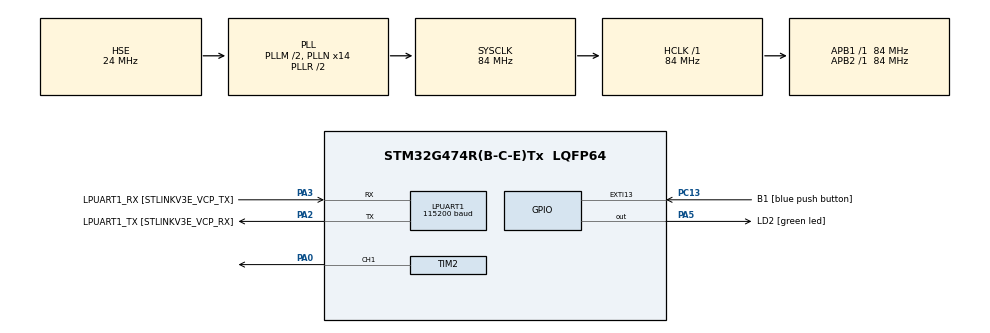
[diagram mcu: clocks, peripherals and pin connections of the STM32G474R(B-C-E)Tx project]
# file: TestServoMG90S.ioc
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LPUART1.BaudRate=115200
LPUART1.WordLength=UART_WORDLENGTH_8B
Mcu.Family=STM32G4
Mcu.Name=STM32G474R(B-C-E)Tx
Mcu.Package=LQFP64
NVIC.EXTI15_10_IRQn=true\:0\:0\:false\:false\:true\:true\:true\:true
NVIC.PriorityGroup=NVIC_PRIORITYGROUP_4
PA0.Signal=S_TIM2_CH1
PA13.GPIO_Label=T_SWDIO
PA13.Mode=Serial_Wire
PA13.Signal=SYS_JTMS-SWDIO
PA14.GPIO_Label=T_SWCLK
PA14.Mode=Serial_Wire
PA14.Signal=SYS_JTCK-SWCLK
PA2.GPIO_Label=LPUART1_TX [STLINKV3E_VCP_RX]
PA2.Mode=Asynchronous
PA2.Signal=LPUART1_TX
PA3.GPIO_Label=LPUART1_RX [STLINKV3E_VCP_TX]
PA3.Mode=Asynchronous
PA3.Signal=LPUART1_RX
PA5.GPIO_Label=LD2 [green led]
PA5.Signal=GPIO_Output
PB3.GPIO_Label=T_SWO
PB3.Signal=SYS_JTDO-SWO
PC13.GPIO_Label=B1 [blue push button]
PC13.Signal=GPXTI13
PC14-OSC32_IN.Mode=LSE-External-Oscillator
PC14-OSC32_IN.Signal=RCC_OSC32_IN
PC15-OSC32_OUT.Mode=LSE-External-Oscillator
PC15-OSC32_OUT.Signal=RCC_OSC32_OUT
PF0-OSC_IN.Mode=HSE-External-Oscillator
PF0-OSC_IN.Signal=RCC_OSC_IN
PF1-OSC_OUT.Mode=HSE-External-Oscillator
PF1-OSC_OUT.Signal=RCC_OSC_OUT
ProjectManager.HeapSize=0x200
ProjectManager.StackSize=0x400
ProjectManager.TargetToolchain=STM32CubeIDE
RCC.ADC12Freq_Value=84000000
RCC.ADC345Freq_Value=84000000
RCC.AHBFreq_Value=84000000
RCC.APB1Freq_Value=84000000
RCC.APB1TimFreq_Value=84000000
RCC.APB2Freq_Value=84000000
RCC.APB2TimFreq_Value=84000000
RCC.CortexFreq_Value=84000000
RCC.EXTERNAL_CLOCK_VALUE=12288000
RCC.HCLKFreq_Value=84000000
RCC.HSE_VALUE=24000000
RCC.HSI48_VALUE=48000000
RCC.HSI_VALUE=16000000
RCC.PLLM=RCC_PLLM_DIV2
RCC.PLLN=14
RCC.PLLSourceVirtual=RCC_PLLSOURCE_HSE
RCC.RTCClockSelection=RCC_RTCCLKSOURCE_LSE
RCC.SYSCLKFreq_VALUE=84000000
RCC.SYSCLKSource=RCC_SYSCLKSOURCE_PLLCLK
RCC.USBFreq_Value=84000000
RCC.VCOOutputFreq_Value=168000000
SH.S_TIM2_CH1.0=TIM2_CH1,PWM Generation1 CH1
TIM2.Channel-PWM\ Generation1\ CH1=TIM_CHANNEL_1
TIM2.PeriodNoDither=8400-1
TIM2.Prescaler=200-1
VP_SYS_VS_DBSignals.Mode=DisableDeadBatterySignals
VP_TIM2_VS_ClockSourceINT.Mode=Internal
board=NUCLEO-G474RE

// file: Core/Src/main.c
/* USER CODE BEGIN Header */
/**
  ******************************************************************************
  * @file           : main.c
  * @brief          : Main program body
  ******************************************************************************
  * @attention
  *
  * Copyright (c) 2026 STMicroelectronics.
  * All rights reserved.
  *
  * This software is licensed under terms that can be found in the LICENSE file
  * in the root directory of this software component.
  * If no LICENSE file comes with this software, it is provided AS-IS.
  *
  ******************************************************************************
  */
/* USER CODE END Header */
#include "main.h"

UART_HandleTypeDef hlpuart1;

TIM_HandleTypeDef htim2;

/* USER CODE BEGIN PV */
// สร้าง Array เก็บค่าองศาเป้าหมายทั้ง 5 ตำแหน่ง
uint8_t target_angles[] = {0, 30, 60, 90, 180};

uint8_t current_step = 0;       // เก็บตำแหน่งปัจจุบันของ Array (0 ถึง 4)
uint8_t button_prev_state = 1;  // เก็บสถานะปุ่มกดก่อนหน้า (ค่าเริ่มต้น 1 คือยังไม่กด)
/* USER CODE END PV */

void SystemClock_Config(void);
static void MX_GPIO_Init(void);
static void MX_LPUART1_UART_Init(void);
static void MX_TIM2_Init(void);

/* USER CODE BEGIN 0 */
void Set_Servo_Angle(TIM_HandleTypeDef *htim, uint32_t channel, uint8_t angle){
	// Map angle (0-180) to pulse width (210-1050 counts)
	//210 for 0.5ms (0 degrees) and 1050 for 2.5ms (180 degrees)
	uint32_t pulse_length = 210 + (angle * (1050 - 210) / 180);
	__HAL_TIM_SET_COMPARE(htim, channel, pulse_length);
}
/* USER CODE END 0 */

int main(void)
{

  /* MCU Configuration--------------------------------------------------------*/

  /* Reset of all peripherals, Initializes the Flash interface and the Systick. */
  HAL_Init();

  /* Configure the system clock */
  SystemClock_Config();

  /* Initialize all configured peripherals */
  MX_GPIO_Init();
  MX_LPUART1_UART_Init();
  MX_TIM2_Init();
  /* USER CODE BEGIN 2 */
  // Start the PWM signal generation
  HAL_TIM_PWM_Start(&htim2, TIM_CHANNEL_1);
  Set_Servo_Angle(&htim2, TIM_CHANNEL_1, target_angles[current_step]);
  /* USER CODE END 2 */

  /* Infinite loop */
  while (1)
  {

    /* USER CODE BEGIN 3 */
// อ่านค่าปุ่มกดปัจจุบันจากพอร์ต B1 (ปุ่มสีฟ้าบนบอร์ด)
	uint8_t button_current_state = HAL_GPIO_ReadPin(B1_GPIO_Port, B1_Pin);

	// เช็คว่ามีการกดปุ่ม (สถานะเปลี่ยนจาก 1 -> 0 หมายถึงถูกกดลงไป)
	if (button_current_state == GPIO_PIN_RESET && button_prev_state == GPIO_PIN_SET)
	{
		HAL_Delay(50); // หน่วงเวลา 50ms เพื่อแก้ปัญหาปุ่มลั่น (Debounce)

		// อ่านค่าอีกรอบเพื่อยืนยันว่าปุ่มถูกกดค้างไว้จริงๆ ไม่ใช่แค่สัญญาณรบกวน
		if (HAL_GPIO_ReadPin(B1_GPIO_Port, B1_Pin) == GPIO_PIN_RESET)
		{
			// เลื่อนสเต็ปขึ้นไป 1 ลำดับ
			current_step++;

			// ถ้าสเต็ปเกิน 4 (คือเกิน 180 องศา) ให้วนกลับไปเริ่มที่ 0
			if (current_step >= 5)
			{
				current_step = 0;
			}

			// สั่งให้ Servo หมุนไปที่องศาตามสเต็ปปัจจุบัน
			Set_Servo_Angle(&htim2, TIM_CHANNEL_1, target_angles[current_step]);
		}
	}

	// อัปเดตสถานะปุ่มกดก่อนหน้า เพื่อใช้เทียบขอบขาลง (Falling Edge) ในรอบถัดไป
	button_prev_state = button_current_state;

	// หน่วงเวลาเล็กน้อยให้ลูปทำงานราบรื่น ไม่ดึงทรัพยากร CPU หนักเกินไป
	HAL_Delay(10);
  }
  /* USER CODE END 3 */
}

void SystemClock_Config(void)
{
  RCC_OscInitTypeDef RCC_OscInitStruct = {0};
  RCC_ClkInitTypeDef RCC_ClkInitStruct = {0};

  /** Configure the main internal regulator output voltage
  */
  HAL_PWREx_ControlVoltageScaling(PWR_REGULATOR_VOLTAGE_SCALE1);

  /** Initializes the RCC Oscillators according to the specified parameters
  * in the RCC_OscInitTypeDef structure.
  */
  RCC_OscInitStruct.OscillatorType = RCC_OSCILLATORTYPE_HSE;
  RCC_OscInitStruct.HSEState = RCC_HSE_ON;
  RCC_OscInitStruct.PLL.PLLState = RCC_PLL_ON;
  RCC_OscInitStruct.PLL.PLLSource = RCC_PLLSOURCE_HSE;
  RCC_OscInitStruct.PLL.PLLM = RCC_PLLM_DIV2;
  RCC_OscInitStruct.PLL.PLLN = 14;
  RCC_OscInitStruct.PLL.PLLP = RCC_PLLP_DIV2;
  RCC_OscInitStruct.PLL.PLLQ = RCC_PLLQ_DIV2;
  RCC_OscInitStruct.PLL.PLLR = RCC_PLLR_DIV2;
  if (HAL_RCC_OscConfig(&RCC_OscInitStruct) != HAL_OK)
  {
    Error_Handler();
  }

  /** Initializes the CPU, AHB and APB buses clocks
  */
  RCC_ClkInitStruct.ClockType = RCC_CLOCKTYPE_HCLK|RCC_CLOCKTYPE_SYSCLK
                              |RCC_CLOCKTYPE_PCLK1|RCC_CLOCKTYPE_PCLK2;
  RCC_ClkInitStruct.SYSCLKSource = RCC_SYSCLKSOURCE_PLLCLK;
  RCC_ClkInitStruct.AHBCLKDivider = RCC_SYSCLK_DIV1;
  RCC_ClkInitStruct.APB1CLKDivider = RCC_HCLK_DIV1;
  RCC_ClkInitStruct.APB2CLKDivider = RCC_HCLK_DIV1;

  if (HAL_RCC_ClockConfig(&RCC_ClkInitStruct, FLASH_LATENCY_2) != HAL_OK)
  {
    Error_Handler();
  }
}

static void MX_LPUART1_UART_Init(void)
{

  hlpuart1.Instance = LPUART1;
  hlpuart1.Init.BaudRate = 115200;
  hlpuart1.Init.WordLength = UART_WORDLENGTH_8B;
  hlpuart1.Init.StopBits = UART_STOPBITS_1;
  hlpuart1.Init.Parity = UART_PARITY_NONE;
  hlpuart1.Init.Mode = UART_MODE_TX_RX;
  hlpuart1.Init.HwFlowCtl = UART_HWCONTROL_NONE;
  hlpuart1.Init.OneBitSampling = UART_ONE_BIT_SAMPLE_DISABLE;
  hlpuart1.Init.ClockPrescaler = UART_PRESCALER_DIV1;
  hlpuart1.AdvancedInit.AdvFeatureInit = UART_ADVFEATURE_NO_INIT;
  if (HAL_UART_Init(&hlpuart1) != HAL_OK)
  {
    Error_Handler();
  }
  if (HAL_UARTEx_SetTxFifoThreshold(&hlpuart1, UART_TXFIFO_THRESHOLD_1_8) != HAL_OK)
  {
    Error_Handler();
  }
  if (HAL_UARTEx_SetRxFifoThreshold(&hlpuart1, UART_RXFIFO_THRESHOLD_1_8) != HAL_OK)
  {
    Error_Handler();
  }
  if (HAL_UARTEx_DisableFifoMode(&hlpuart1) != HAL_OK)
  {
    Error_Handler();
  }

}

static void MX_TIM2_Init(void)
{

  TIM_ClockConfigTypeDef sClockSourceConfig = {0};
  TIM_MasterConfigTypeDef sMasterConfig = {0};
  TIM_OC_InitTypeDef sConfigOC = {0};

  htim2.Instance = TIM2;
  htim2.Init.Prescaler = 200-1;
  htim2.Init.CounterMode = TIM_COUNTERMODE_UP;
  htim2.Init.Period = 8399;
  htim2.Init.ClockDivision = TIM_CLOCKDIVISION_DIV1;
  htim2.Init.AutoReloadPreload = TIM_AUTORELOAD_PRELOAD_DISABLE;
  if (HAL_TIM_Base_Init(&htim2) != HAL_OK)
  {
    Error_Handler();
  }
  sClockSourceConfig.ClockSource = TIM_CLOCKSOURCE_INTERNAL;
  if (HAL_TIM_ConfigClockSource(&htim2, &sClockSourceConfig) != HAL_OK)
  {
    Error_Handler();
  }
  if (HAL_TIM_PWM_Init(&htim2) != HAL_OK)
  {
    Error_Handler();
  }
  sMasterConfig.MasterOutputTrigger = TIM_TRGO_RESET;
  sMasterConfig.MasterSlaveMode = TIM_MASTERSLAVEMODE_DISABLE;
  if (HAL_TIMEx_MasterConfigSynchronization(&htim2, &sMasterConfig) != HAL_OK)
  {
    Error_Handler();
  }
  sConfigOC.OCMode = TIM_OCMODE_PWM1;
  sConfigOC.Pulse = 0;
  sConfigOC.OCPolarity = TIM_OCPOLARITY_HIGH;
  sConfigOC.OCFastMode = TIM_OCFAST_DISABLE;
  if (HAL_TIM_PWM_ConfigChannel(&htim2, &sConfigOC, TIM_CHANNEL_1) != HAL_OK)
  {
    Error_Handler();
  }
  HAL_TIM_MspPostInit(&htim2);

}

static void MX_GPIO_Init(void)
{
  GPIO_InitTypeDef GPIO_InitStruct = {0};

  /* GPIO Ports Clock Enable */
  __HAL_RCC_GPIOC_CLK_ENABLE();
  __HAL_RCC_GPIOF_CLK_ENABLE();
  __HAL_RCC_GPIOA_CLK_ENABLE();
  __HAL_RCC_GPIOB_CLK_ENABLE();

  /*Configure GPIO pin Output Level */
  HAL_GPIO_WritePin(LD2_GPIO_Port, LD2_Pin, GPIO_PIN_RESET);

  /*Configure GPIO pin : B1_Pin */
  GPIO_InitStruct.Pin = B1_Pin;
  GPIO_InitStruct.Mode = GPIO_MODE_IT_RISING;
  GPIO_InitStruct.Pull = GPIO_NOPULL;
  HAL_GPIO_Init(B1_GPIO_Port, &GPIO_InitStruct);

  /*Configure GPIO pin : LD2_Pin */
  GPIO_InitStruct.Pin = LD2_Pin;
  GPIO_InitStruct.Mode = GPIO_MODE_OUTPUT_PP;
  GPIO_InitStruct.Pull = GPIO_NOPULL;
  GPIO_InitStruct.Speed = GPIO_SPEED_FREQ_LOW;
  HAL_GPIO_Init(LD2_GPIO_Port, &GPIO_InitStruct);

  /* EXTI interrupt init*/
  HAL_NVIC_SetPriority(EXTI15_10_IRQn, 0, 0);
  HAL_NVIC_EnableIRQ(EXTI15_10_IRQn);

}

void Error_Handler(void)
{
  __disable_irq();
  while (1)
  {
  }
}
